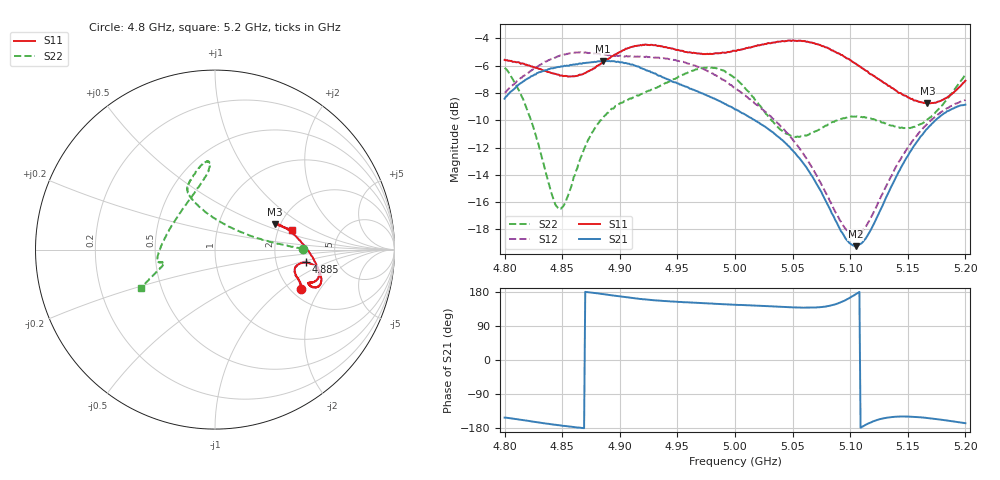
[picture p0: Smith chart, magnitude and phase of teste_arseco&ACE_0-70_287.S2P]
! Network Analyzer HP8722D
! Hewlett-Packard
! Data name: Linha & Wilkinson
! Saver's name: Rodrigo Anjos
! Comments: Teste da utilização de aquisição
! continua pelo VNA HP8722D
! Time and date: 8/5/2025 15:09
!  Frequency  S11  S21  S12  S22
# HZ  S  MA R 50
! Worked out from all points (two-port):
!   401 points, 4.8 GHz to 5.2 GHz, reference 50 ohm
!   highest |S21| = -5.66 dB at 4.885 GHz (marker M1); lowest = -19.2 dB at 5.105 GHz (marker M2)
!   |S21| within 3 dB of the highest: start of sweep to 4.988 GHz
!   lowest |S11| = -8.8 dB at 5.167 GHz (marker M3), VSWR 2.15, Z = 93.7 + j30.9 ohm
!   |S11| at or under -10 dB: nowhere
!   |S22| runs from -16.5 to -6.1 dB; largest |S21 - S12| = 1.1
!   S11 on the Smith chart (normalised r, x): 4.8 GHz: 2.25, -1.37; 4.885 GHz: 2.99, -0.58; 5.2 GHz: 2.36, +0.65
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4.8e9  0.526 -24.9  0.3792 -152.1  0.3993 7.4  0.4915 0.6
4.818e9  0.5047 -21.0  0.4443 -159.6  0.4648 4.8  0.3594 5.1
4.842e9  0.4695 -17.4  0.4898 -170.1  0.5294 1.0  0.1645 40.5
4.846e9  0.4646 -16.2  0.4949 -171.9  0.542 0.2  0.1515 55.1
4.853e9  0.4595 -14.7  0.4997 -174.4  0.5511 -1.0  0.1588 80.8
4.867e9  0.4647 -11.1  0.5088 -179.4  0.5578 -2.9  0.2353 107.7
4.885e9  0.5135 -8.0  0.5211 174.3  0.5511 -4.0  0.3211 114.8
4.911e9  0.5878 -11.4  0.5061 163.6  0.5425 -3.2  0.3821 113.5
4.934e9  0.5923 -16.7  0.4598 156.7  0.5361 -4.0  0.4197 107.6
4.973e9  0.5525 -19.6  0.394 149.8  0.4858 -7.3  0.4921 95.8
5e9  0.5678 -20.7  0.3462 145.8  0.4159 -7.3  0.4522 94.3
5.015e9  0.5862 -21.1  0.3199 144.0  0.3725 -5.2  0.3864 100.4
5.042e9  0.6158 -18.9  0.2652 140.1  0.294 0.6  0.2876 129.7
5.067e9  0.608 -14.0  0.1972 138.3  0.2122 8.6  0.2837 165.3
5.093e9  0.5481 -4.8  0.1225 153.9  0.1319 33.2  0.3207 -173.7
5.105e9  0.5092 0.9  0.1093 173.9  0.1202 56.4  0.3257 -169.5
5.115e9  0.4777 6.0  0.1196 -168.5  0.1322 75.3  0.3229 -167.7
5.134e9  0.4225 15.4  0.1746 -151.3  0.1913 94.3  0.3034 -166.5
5.152e9  0.3801 21.8  0.2422 -149.6  0.2576 99.1  0.2959 -164.7
5.167e9  0.3643 23.1  0.2946 -153.1  0.3074 99.7  0.3183 -161.7
5.183e9  0.3808 20.6  0.3376 -159.3  0.3481 99.5  0.3731 -157.5
5.2e9  0.4413 14.7  0.3607 -166.7  0.3754 100.0  0.4641 -152.2
